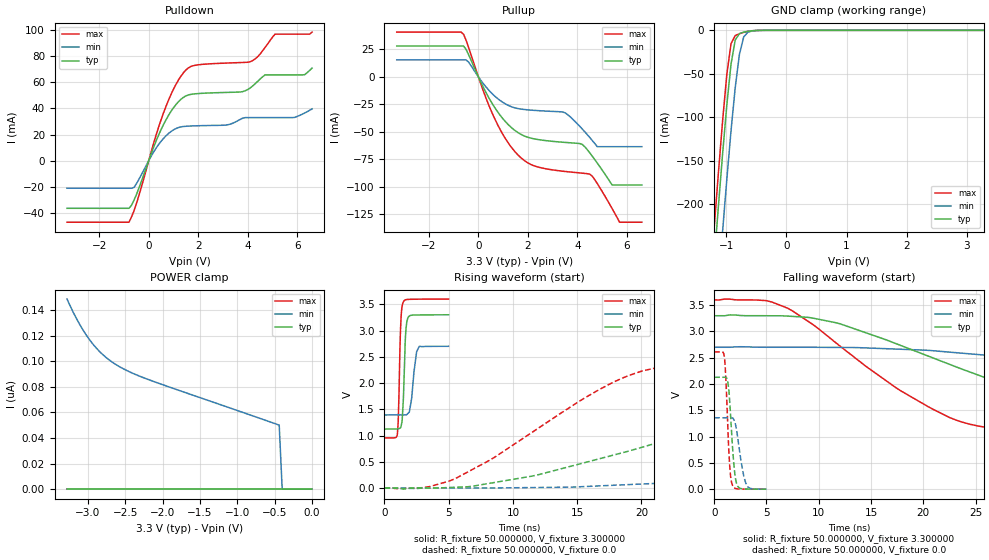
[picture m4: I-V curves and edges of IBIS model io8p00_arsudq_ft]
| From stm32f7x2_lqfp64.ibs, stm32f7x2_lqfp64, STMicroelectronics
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|   Model io8p00_arsudq_ft
[Model]  io8p00_arsudq_ft
Model_type I/O
Polarity   Non-Inverting
Enable   Active-Low
Vinl =   0.990000V
Vinh =   2.310000V
Vmeas =  1.650000V
Cref =   50.000000pF
Rref =   100.000000M
Vref =   0.0V
C_comp   2.292100pF   2.228000pF   2.366600pF
[Temperature Range]   25.000000   0.125000k   -40.000000
[Pullup Reference]   3.300000V   2.700000V   3.600000V
[Pulldown Reference]   0.0V   0.0V   0.0V
[POWER Clamp Reference]   3.300000V   2.700000V   3.600000V
[GND Clamp Reference]   0.0V   0.0V   0.0V
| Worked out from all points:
|   slope of the pulldown table from 0 to 0.495 V, typ, clamps not added: 20.9 ohm
|   slope of the pullup table from 0 to 0.495 V, typ, clamps not added: 22.6 ohm
|   GND clamp passes 1 mA (typ) near -0.62 V on its own axis
|   rising waveform, R_fixture 50.000000, V_fixture 3.300000: 20-80 % time 190ps typ, 338ps min, 164ps max; typ from 1.12 V to 3.3 V
|   rising waveform, R_fixture 50.000000, V_fixture 0.0: 20-80 % time 19.7ns typ, 51ns min, 10.3ns max; typ from 0 V to 2.13 V
|   falling waveform, R_fixture 50.000000, V_fixture 3.300000: 20-80 % time 18.6ns typ, 39.1ns min, 11.5ns max; typ from 3.3 V to 1.12 V
|   falling waveform, R_fixture 50.000000, V_fixture 0.0: 20-80 % time 434ps typ, 633ps min, 343ps max; typ from 2.13 V to 0 V
[Pulldown]
|Voltage   I(typ)   I(min)   I(max)
-3.3V     -36.46mA   -21.09mA   -47.09mA
-800mV    -36.46mA   -21.09mA   -47.09mA
-600mV    -30.5mA    -20.54mA   -38.69mA
700mV     31.4mA     19.11mA    41.71mA
1.2V      45.15mA    25.37mA    61.75mA
1.6V      50.35mA    26.5mA     71.06mA
3.1V      52.28mA    27.26mA    74.76mA
4.1V      55.7mA     32.99mA    75.81mA
4.7V      65.72mA    32.99mA    86.7mA
5.1V      65.72mA    32.99mA    96.91mA
6.3V      65.88mA    36.51mA    96.91mA
6.6V      70.94mA    39.72mA    98.51mA
[Pullup]
|Voltage   I(typ)   I(min)   I(max)
-3.3V     28.04mA    15.43mA    40.69mA
-700mV    28.04mA    15.43mA    40.69mA
-400mV    20.31mA    13.47mA    26.93mA
600mV     -25.77mA   -16.23mA   -35.14mA
1.6V      -50.64mA   -28.81mA   -70.96mA
3.5V      -59.53mA   -32.65mA   -85.92mA
4.2V      -61.43mA   -47.48mA   -87.46mA
4.5V      -69.07mA   -55.12mA   -88.38mA
4.8V      -78.22mA   -63.4mA    -96.83mA
5.4V      -98.2mA    -63.4mA    -119.6mA
5.7V      -98.2mA    -63.4mA    -132mA
6.6V      -98.2mA    -63.4mA    -132mA
[GND_clamp]
|Voltage   I(typ)   I(min)   I(max)
-3.3V     -2.319A    -2.398A    -2.292A
-1.2V     -265.5mA   -356.1mA   -227.2mA
-1.13V    -202.6mA   -292.9mA   -164.1mA
-1.06V    -142.2mA   -231.2mA   -104.1mA
-990mV    -85.98mA   -171.6mA   -50.72mA
-920mV    -38.8mA    -115.5mA   -15.28mA
-850mV    -11.08mA   -65.6mA    -6.001mA
-780mV    -3.782mA   -27.42mA   -3.876mA
-710mV    -2.086mA   -7.69mA    -2.381mA
-640mV    -1.147mA   -2.118mA   -1.22mA
-570mV    -523.9uA   -798.4uA   -476.8uA
3.28V     0A         0A         0A
[POWER_clamp]
|Voltage   I(typ)   I(min)   I(max)
-3.28V    0A         148.5nA    0A
-3.2V     0A         138.6nA    0A
-3.12V    0A         129.7nA    0A
-3.04V    0A         122nA      0A
-2.96V    0A         115.3nA    0A
-2.8V     0A         105.1nA    0A
-2.6V     0A         96.44nA    0A
-2.4V     0A         90.52nA    0A
-2.16V    0A         84.97nA    0A
-440mV    0A         50.04nA    0A
-400mV    0A         0A         0A
0V        0A         0A         0A
[Ramp]
| variable   typ   min   max
dV/dt_r  1.27740/19.68906n   0.81540/50.98348n   1.56732/10.32996n
dV/dt_f  1.30734/18.58362n   0.78450/39.11759n   1.58789/11.43308n
R_load = 50.000000
[Rising Waveform]
R_fixture= 50.000000
V_fixture= 3.300000
V_fixture_min= 2.700000
V_fixture_max= 3.600000
|time   V(typ)   V(min)   V(max)
0s        1.124V     1.392V     953.5mV
1.001ns   1.126V     1.392V     1.018V
1.071ns   1.128V     1.392V     1.288V
1.251ns   1.149V     1.392V     3.035V
1.461ns   1.66V      1.391V     3.543V
1.632ns   2.882V     1.394V     3.586V
1.862ns   3.259V     1.43V      3.594V
2.503ns   3.297V     2.597V     3.597V
2.703ns   3.297V     2.698V     3.598V
4.985ns   3.3V       2.7V       3.6V
[Rising Waveform]
R_fixture= 50.000000
V_fixture= 0.0
V_fixture_min= 0.0
V_fixture_max= 0.0
|time   V(typ)   V(min)   V(max)
0s        4.932nV    245.7nV    3.133nV
5.506ns   13.81mV    -141.5uV   177.7mV
11.51ns   227.5mV    8.254mV    1.064V
19.02ns   703.8mV    64.87mV    2.142V
27.53ns   1.299V     163.4mV    2.488V
38.54ns   1.854V     360.2mV    2.577V
57.56ns   2.068V     710.1mV    2.608V
89.09ns   2.119V     1.139V     2.612V
117.6ns   2.128V     1.298V     2.612V
249.2ns   2.129V     1.359V     2.612V
[Falling Waveform]
R_fixture= 50.000000
V_fixture= 3.300000
V_fixture_min= 2.700000
V_fixture_max= 3.600000
|time   V(typ)   V(min)   V(max)
0s        3.3V       2.7V       3.6V
5.506ns   3.299V     2.7V       3.561V
12.01ns   3.148V     2.696V     2.726V
22.52ns   2.374V     2.607V     1.362V
31.53ns   1.733V     2.433V     1.074V
37.54ns   1.446V     2.289V     1.03V
46.55ns   1.275V     2.066V     998mV
62.56ns   1.186V     1.74V      969.9mV
86.09ns   1.145V     1.529V     956.6mV
249.2ns   1.124V     1.392V     953.5mV
[Falling Waveform]
R_fixture= 50.000000
V_fixture= 0.0
V_fixture_min= 0.0
V_fixture_max= 0.0
|time   V(typ)   V(min)   V(max)
0s        2.129V     1.359V     2.612V
981ps     2.13V      1.359V     2.507V
1.151ns   2.12V      1.358V     1.947V
1.411ns   1.87V      1.359V     686.9mV
1.542ns   1.49V      1.361V     297.7mV
1.742ns   832.6mV    1.354V     78.17mV
2.152ns   100.6mV    1.12V      8.582mV
2.833ns   4.24mV     245.4mV    1.262mV
3.123ns   1.695mV    72.93mV    990.4uV
4.985ns   4.932nV    245.7nV    3.133nV
